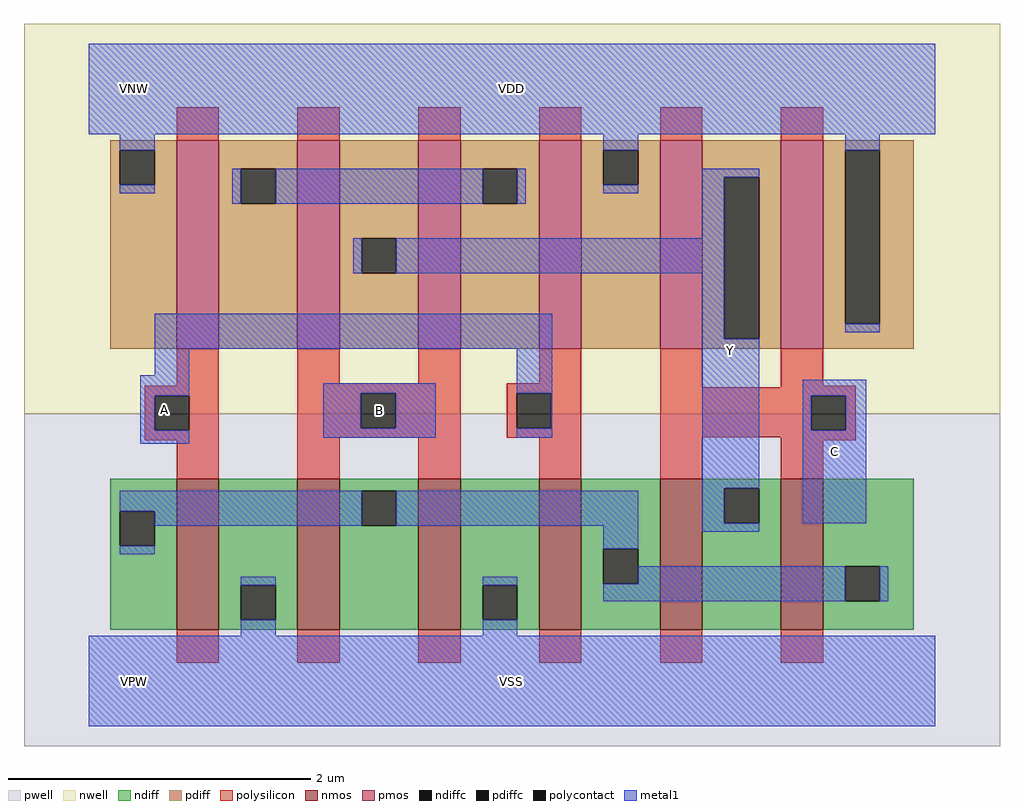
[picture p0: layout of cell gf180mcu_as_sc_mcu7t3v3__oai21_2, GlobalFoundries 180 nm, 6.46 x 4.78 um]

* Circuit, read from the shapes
.subckt gf180mcu_as_sc_mcu7t3v3__oai21_2 VDD VNW VPW VSS A B C Y
XM1 VSS A n1 VPW nfet_03v3 w=1u l=0.28u m=2
XM2 n1 B VSS VPW nfet_03v3 w=1u l=0.28u m=2
XM3 Y C n1 VPW nfet_03v3 w=1u l=0.28u m=2
XM4 n2 A VDD VNW pfet_03v3 w=1.38u l=0.28u m=2
XM5 Y B n2 VNW pfet_03v3 w=1.38u l=0.28u m=2
XM6 Y C VDD VNW pfet_03v3 w=1.38u l=0.28u m=2
.ends

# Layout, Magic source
magic
tech gf180mcuD
magscale 1 10
<< nwell >>
rect -86 354 1206 870
<< pwell >>
rect -86 -86 1206 354
<< nmos >>
rect 116 68 172 268
rect 276 68 332 268
rect 436 68 492 268
rect 596 68 652 268
rect 756 68 812 268
rect 916 68 972 268
<< pmos >>
rect 116 440 172 716
rect 276 440 332 716
rect 436 440 492 716
rect 596 440 652 716
rect 756 440 812 716
rect 916 440 972 716
<< ndiff >>
rect 28 225 116 268
rect 28 179 41 225
rect 87 179 116 225
rect 28 68 116 179
rect 172 127 276 268
rect 172 81 201 127
rect 247 81 276 127
rect 172 68 276 81
rect 332 252 436 268
rect 332 206 361 252
rect 407 206 436 252
rect 332 68 436 206
rect 492 127 596 268
rect 492 81 521 127
rect 567 81 596 127
rect 492 68 596 81
rect 652 175 756 268
rect 652 129 681 175
rect 727 129 756 175
rect 652 68 756 129
rect 812 255 916 268
rect 812 209 841 255
rect 887 209 916 255
rect 812 68 916 209
rect 972 152 1092 268
rect 972 106 1001 152
rect 1047 106 1092 152
rect 972 68 1092 106
<< pdiff >>
rect 28 703 116 716
rect 28 657 41 703
rect 87 657 116 703
rect 28 440 116 657
rect 172 678 276 716
rect 172 632 201 678
rect 247 632 276 678
rect 172 440 276 632
rect 332 586 436 716
rect 332 540 361 586
rect 407 540 436 586
rect 332 440 436 540
rect 492 678 596 716
rect 492 632 521 678
rect 567 632 596 678
rect 492 440 596 632
rect 652 703 756 716
rect 652 657 681 703
rect 727 657 756 703
rect 652 440 756 657
rect 812 667 916 716
rect 812 453 841 667
rect 887 453 916 667
rect 812 440 916 453
rect 972 703 1092 716
rect 972 473 1001 703
rect 1047 473 1092 703
rect 972 440 1092 473
<< ndiffc >>
rect 41 179 87 225
rect 201 81 247 127
rect 361 206 407 252
rect 521 81 567 127
rect 681 129 727 175
rect 841 209 887 255
rect 1001 106 1047 152
<< pdiffc >>
rect 41 657 87 703
rect 201 632 247 678
rect 361 540 407 586
rect 521 632 567 678
rect 681 657 727 703
rect 841 453 887 667
rect 1001 473 1047 703
<< polysilicon >>
rect 116 716 172 760
rect 276 716 332 760
rect 436 716 492 760
rect 596 716 652 760
rect 756 716 812 760
rect 916 716 972 760
rect 116 391 172 440
rect 74 378 172 391
rect 74 332 87 378
rect 133 332 172 378
rect 74 319 172 332
rect 116 268 172 319
rect 276 394 332 440
rect 436 394 492 440
rect 596 394 652 440
rect 276 381 492 394
rect 276 335 360 381
rect 406 335 492 381
rect 276 322 492 335
rect 553 381 652 394
rect 553 335 566 381
rect 612 335 652 381
rect 553 322 652 335
rect 276 268 332 322
rect 436 268 492 322
rect 596 268 652 322
rect 756 389 812 440
rect 916 391 972 440
rect 916 389 1015 391
rect 756 378 1015 389
rect 756 332 956 378
rect 1002 332 1015 378
rect 756 323 1015 332
rect 756 268 812 323
rect 916 319 1015 323
rect 916 268 972 319
rect 116 24 172 68
rect 276 24 332 68
rect 436 24 492 68
rect 596 24 652 68
rect 756 24 812 68
rect 916 24 972 68
<< polycontact >>
rect 87 332 133 378
rect 360 335 406 381
rect 566 335 612 381
rect 956 332 1002 378
<< metal1 >>
rect 0 724 1120 844
rect 41 703 87 724
rect 681 703 727 724
rect 41 646 87 657
rect 190 632 201 678
rect 247 632 521 678
rect 567 632 578 678
rect 1001 703 1047 724
rect 681 646 727 657
rect 812 667 887 678
rect 812 586 841 667
rect 350 540 361 586
rect 407 540 841 586
rect 87 440 613 486
rect 87 405 133 440
rect 68 378 133 405
rect 68 332 87 378
rect 68 314 133 332
rect 310 381 459 394
rect 310 335 360 381
rect 406 335 459 381
rect 310 322 459 335
rect 566 381 613 440
rect 612 335 613 381
rect 566 322 613 335
rect 812 453 841 540
rect 1001 462 1047 473
rect 812 255 887 453
rect 41 225 361 252
rect 87 206 361 225
rect 407 206 727 252
rect 41 168 87 179
rect 681 175 727 206
rect 812 209 841 255
rect 945 378 1029 399
rect 945 332 956 378
rect 1002 332 1029 378
rect 945 209 1029 332
rect 812 198 887 209
rect 201 127 247 138
rect 201 60 247 81
rect 521 127 567 138
rect 727 129 1001 152
rect 681 106 1001 129
rect 1047 106 1058 152
rect 521 60 567 81
rect 0 -60 1120 60
<< labels >>
flabel metal1 s 0 724 1120 844 0 FreeSans 400 0 0 0 VDD
port 1 nsew power bidirectional abutment
flabel metal1 s 0 -60 1120 60 0 FreeSans 400 0 0 0 VSS
port 4 nsew ground bidirectional abutment
flabel nwell s 10 734 110 834 0 FreeSans 400 0 0 0 VNW
port 2 nsew power bidirectional
flabel pwell s 10 -50 110 50 0 FreeSans 400 0 0 0 VPW
port 3 nsew ground bidirectional
flabel metal1 68 314 133 405 0 FreeSans 200 0 0 0 A
port 5 nsew signal input
flabel metal1 310 322 459 394 0 FreeSans 200 0 0 0 B
port 6 nsew signal input
flabel metal1 945 209 1029 399 0 FreeSans 200 0 0 0 C
port 7 nsew signal input
flabel metal1 812 198 887 678 0 FreeSans 200 0 0 0 Y
port 8 nsew signal output
<< properties >>
string FIXED_BBOX 0 0 1120 784
string LEFclass CORE
string LEFsite unithd
string LEFsymmetry X Y
string MASKHINTS_NPLUS -16 -46 1136 354
string MASKHINTS_PPLUS -16 354 1136 830
<< end >>
